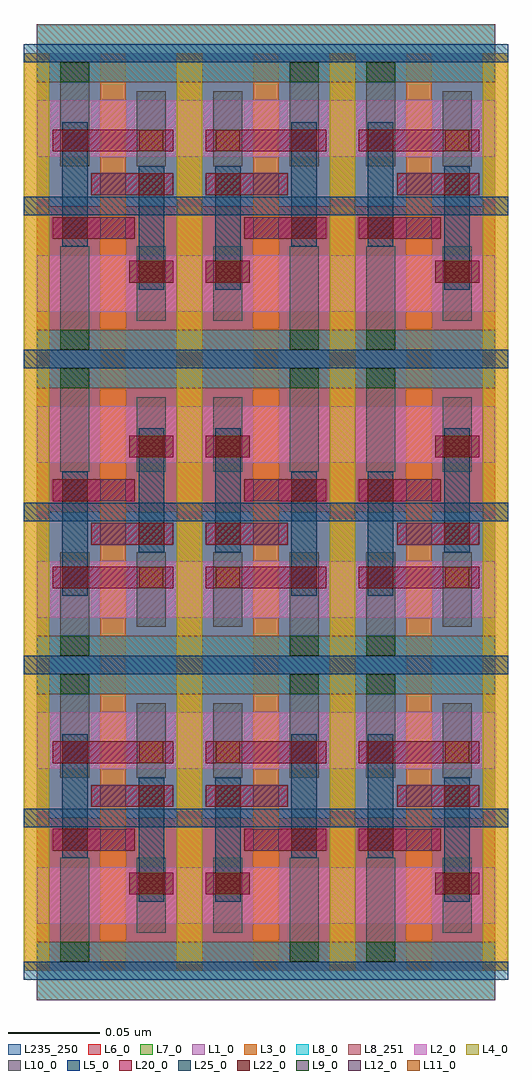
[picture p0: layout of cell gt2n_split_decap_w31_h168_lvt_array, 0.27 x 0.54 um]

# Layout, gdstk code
from math import pi, radians
import gdstk
lib = gdstk.Library(unit=1e-6, precision=5e-10)
def R(c, l, rs):  # rectangles x0, y0, x1, y1
    for r in rs: c.add(gdstk.rectangle(r[:2], r[2:], *l))
def A(c, l, x, y, w, h, nx, ny, dx, dy):  # array of equal rectangles
    R(c, l, [(x+i*dx, y+j*dy, x+i*dx+w, y+j*dy+h) for i in range(nx) for j in range(ny)])
L1_0 = (1, 0)
L2_0 = (2, 0)
L3_0 = (3, 0)
L4_0 = (4, 0)
L5_0 = (5, 0)
L6_0 = (6, 0)
L7_0 = (7, 0)
L8_0 = (8, 0)
L8_251 = (8, 251)
L9_0 = (9, 0)
L10_0 = (10, 0)
L11_0 = (11, 0)
L12_0 = (12, 0)
L20_0 = (20, 0)
L22_0 = (22, 0)
L25_0 = (25, 0)
L235_250 = (235, 250)

gt2n_split_decap_w31_h16 = lib.new_cell('gt2n_split_decap_w31_h168_lvt')
R(gt2n_split_decap_w31_h16, L1_0, [(0,0.084,0.084,0.168)])
R(gt2n_split_decap_w31_h16, L2_0, [(0,0.026,0.084,0.057), (0,0.111,0.084,0.142)])
A(gt2n_split_decap_w31_h16, L3_0, -0.007, 0, 0.014, 0.168, 3, 1, 0.042, 0)
R(gt2n_split_decap_w31_h16, L4_0, [(-0.007,0,0.007,0.168), (0.077,0,0.091,0.168)])
A(gt2n_split_decap_w31_h16, L5_0, -0.007, -0.005, 0.098, 0.01, 1, 3, 0, 0.084)
R(gt2n_split_decap_w31_h16, L6_0, [(0,0,0.084,0.084)])
R(gt2n_split_decap_w31_h16, L7_0, [(0,0.084,0.084,0.168)])
R(gt2n_split_decap_w31_h16, L8_0, [(0,-0.016,0.084,0.016), (0,0.152,0.084,0.184)])
R(gt2n_split_decap_w31_h16, L8_251, [(0,-0.016,0.084,0.016), (0,0.152,0.084,0.184)])
R(gt2n_split_decap_w31_h16, L9_0, [(0.013,0.005,0.029,0.016), (0.013,0.152,0.029,0.163)])
R(gt2n_split_decap_w31_h16, L10_0, [(0.013,0.005,0.029,0.062), (0.055,0.021,0.071,0.062), (0.013,0.106,0.029,0.163), (0.055,0.106,0.071,0.147)])
R(gt2n_split_decap_w31_h16, L11_0, [(0.0565,0.042,0.0695,0.054), (0.0565,0.114,0.0695,0.126)])
R(gt2n_split_decap_w31_h16, L12_0, [(0.035,0.066,0.049,0.078), (0.035,0.09,0.049,0.102)])
R(gt2n_split_decap_w31_h16, L20_0, [(0.051,0.042,0.075,0.054), (0.009,0.066,0.054,0.078), (0.03,0.09,0.075,0.102), (0.009,0.114,0.075,0.126)])
R(gt2n_split_decap_w31_h16, L22_0, [(0.056,0.042,0.07,0.054), (0.014,0.066,0.028,0.078), (0.056,0.09,0.07,0.102), (0.014,0.114,0.028,0.126)])
R(gt2n_split_decap_w31_h16, L25_0, [(0.056,0.038,0.07,0.106), (0.014,0.062,0.028,0.13)])
R(gt2n_split_decap_w31_h16, L235_250, [(0,0,0.084,0.168)])
gt2n_split_decap_w31_h16.add(gdstk.Label('vss', (0.042,0), layer=8, texttype=251))
gt2n_split_decap_w31_h16.add(gdstk.Label('vdd', (0.042,0.168), layer=8, texttype=251))

c_gt2n_split_decap_w31_h16 = lib.new_cell('gt2n_split_decap_w31_h168_lvt_array')
c_gt2n_split_decap_w31_h16.add(gdstk.Reference(gt2n_split_decap_w31_h16, (0,0)))
c_gt2n_split_decap_w31_h16.add(gdstk.Reference(gt2n_split_decap_w31_h16, (0.168,0), rotation=pi, x_reflection=True))
c_gt2n_split_decap_w31_h16.add(gdstk.Reference(gt2n_split_decap_w31_h16, (0.168,0)))
c_gt2n_split_decap_w31_h16.add(gdstk.Reference(gt2n_split_decap_w31_h16, (0,0.336), x_reflection=True))
c_gt2n_split_decap_w31_h16.add(gdstk.Reference(gt2n_split_decap_w31_h16, (0.168,0.336), rotation=pi))
c_gt2n_split_decap_w31_h16.add(gdstk.Reference(gt2n_split_decap_w31_h16, (0.168,0.336), x_reflection=True))
c_gt2n_split_decap_w31_h16.add(gdstk.Reference(gt2n_split_decap_w31_h16, (0,0.336)))
c_gt2n_split_decap_w31_h16.add(gdstk.Reference(gt2n_split_decap_w31_h16, (0.168,0.336), rotation=pi, x_reflection=True))
c_gt2n_split_decap_w31_h16.add(gdstk.Reference(gt2n_split_decap_w31_h16, (0.168,0.336)))

lib.write_gds('gt2n_split_decap_w31_h168_lvt_array.gds')
